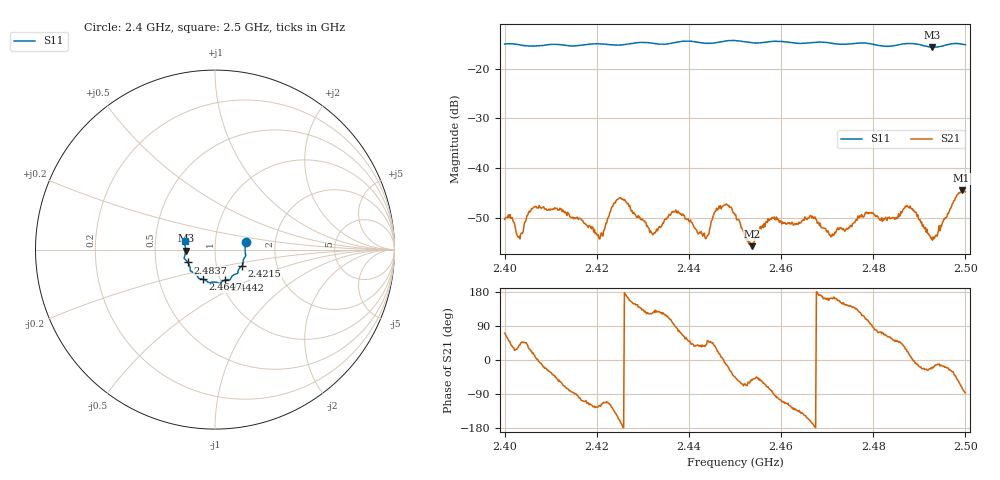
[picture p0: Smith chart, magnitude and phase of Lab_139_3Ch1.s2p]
# Hz S RI R 50
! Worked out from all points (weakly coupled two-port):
!   601 points, 2.4 GHz to 2.5 GHz, reference 50 ohm
!   highest |S21| = -44.42 dB at 2.4992 GHz (marker M1); lowest = -55.6 dB at 2.4537 GHz (marker M2)
!   lowest |S11| = -15.7 dB at 2.4928 GHz (marker M3), VSWR 1.39, Z = 36 - j0.377 ohm
!   |S11| at or under -10 dB: start of sweep to end of sweep
!   S12 and S22 are empty: the file has one direction only
!   S11 on the Smith chart (normalised r, x): 2.4 GHz: 1.41, +0.12; 2.4215 GHz: 1.33, -0.25; 2.4442 GHz: 1.05, -0.37; 2.4647 GHz: 0.83, -0.28; 2.4837 GHz: 0.73, -0.11; 2.5 GHz: 0.71, +0.07
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2.4e9  0.1714 0.04  0.001 0.00289  0 0  0 0
2.403167e9  0.1711 0.0261  0.00161 0.00131  0 0  0 0
2.406333e9  0.1679 -0.0053  0.00394 0.000994  0 0  0 0
2.416667e9  0.1568 -0.0699  -0.00089 -0.00294  0 0  0 0
2.4215e9  0.151 -0.0898  -0.000876 -0.0022  0 0  0 0
2.425167e9  0.1333 -0.1083  -0.00489 -0.00134  0 0  0 0
2.433333e9  0.1083 -0.1387  -0.00151 0.00195  0 0  0 0
2.437167e9  0.088 -0.1606  0.00016 0.00381  0 0  0 0
2.444167e9  0.0566 -0.1694  0.00136 0.00164  0 0  0 0
2.446333e9  0.0385 -0.1791  0.0036 0.00147  0 0  0 0
2.45e9  0.0252 -0.189  0.00241 -0.00239  0 0  0 0
2.453667e9  0.00472 -0.1814  0.000969 -0.00134  0 0  0 0
2.457667e9  -0.0268 -0.1841  0.000638 -0.00305  0 0  0 0
2.464667e9  -0.0675 -0.1654  -0.00233 -0.00188  0 0  0 0
2.466667e9  -0.0826 -0.1621  -0.00308 -0.000759  0 0  0 0
2.471e9  -0.0963 -0.1511  -0.00199 0.000598  0 0  0 0
2.483333e9  -0.1491 -0.0749  0.00151 0.00281  0 0  0 0
2.483667e9  -0.151 -0.0717  0.00157 0.00268  0 0  0 0
2.487833e9  -0.1715 -0.0486  0.00387 0.000943  0 0  0 0
2.492833e9  -0.1634 -0.0051  0.00179 -0.000608  0 0  0 0
2.499167e9  -0.1699 0.0456  0.00196 -0.00568  0 0  0 0
2.5e9  -0.1655 0.0505  0.000292 -0.00578  0 0  0 0
